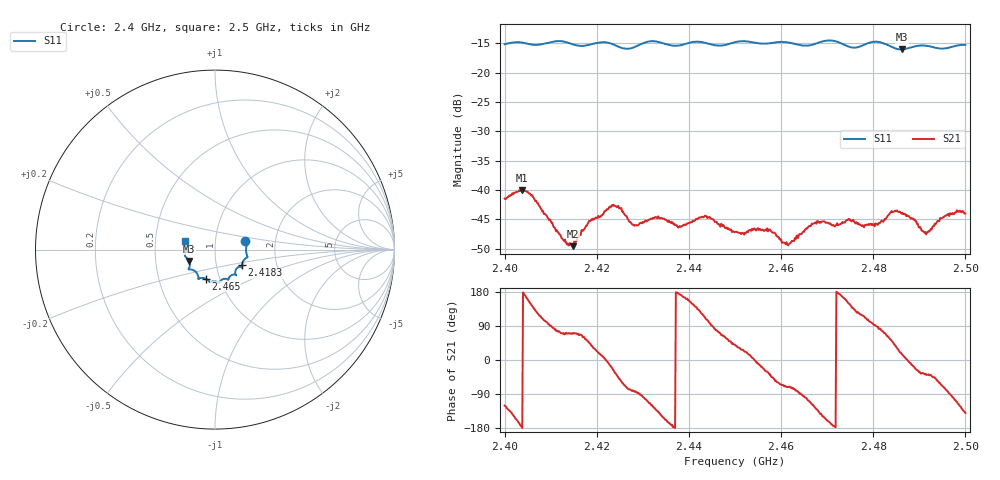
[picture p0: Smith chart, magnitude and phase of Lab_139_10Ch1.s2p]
# Hz S RI R 50
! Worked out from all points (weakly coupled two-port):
!   601 points, 2.4 GHz to 2.5 GHz, reference 50 ohm
!   highest |S21| = -40.06 dB at 2.4038 GHz (marker M1); lowest = -49.6 dB at 2.4148 GHz (marker M2)
!   lowest |S11| = -16.0 dB at 2.4862 GHz (marker M3), VSWR 1.38, Z = 37.1 - j4.85 ohm
!   |S11| at or under -10 dB: start of sweep to end of sweep
!   S12 and S22 are empty: the file has one direction only
!   S11 on the Smith chart (normalised r, x): 2.4 GHz: 1.40, +0.13; 2.4183 GHz: 1.33, -0.24; 2.465 GHz: 0.86, -0.29; 2.5 GHz: 0.71, +0.07
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2.4e9  0.1689 0.0454  -0.00427 -0.00729  0 0  0 0
2.403833e9  0.1787 0.028  -0.00993 -0.000111  0 0  0 0
2.413e9  0.1786 -0.0443  0.0014 0.00335  0 0  0 0
2.414833e9  0.1668 -0.0518  0.00114 0.00311  0 0  0 0
2.416667e9  0.1551 -0.0684  0.00182 0.00412  0 0  0 0
2.418333e9  0.1498 -0.0869  0.0038 0.0039  0 0  0 0
2.423667e9  0.1447 -0.0966  0.00663 -0.00345  0 0  0 0
2.428167e9  0.1135 -0.1205  0.000568 -0.00492  0 0  0 0
2.433333e9  0.1166 -0.1414  -0.00437 -0.00404  0 0  0 0
2.438e9  0.0823 -0.1501  -0.00488 0.000608  0 0  0 0
2.444e9  0.0681 -0.1642  -0.00149 0.00556  0 0  0 0
2.45e9  0.0251 -0.1807  0.00336 0.00281  0 0  0 0
2.457167e9  -0.0112 -0.1773  0.00374 -0.0024  0 0  0 0
2.4615e9  -0.0314 -0.1787  0.00111 -0.00317  0 0  0 0
2.465e9  -0.0527 -0.1621  -0.000459 -0.00439  0 0  0 0
2.466667e9  -0.0712 -0.1577  -0.00226 -0.00464  0 0  0 0
2.4805e9  -0.1477 -0.1099  -0.000114 0.00519  0 0  0 0
2.483333e9  -0.1418 -0.0958  0.00306 0.00534  0 0  0 0
2.486167e9  -0.1446 -0.0637  0.00603 0.00175  0 0  0 0
2.491333e9  -0.1674 -0.0314  0.00352 -0.00258  0 0  0 0
2.495833e9  -0.1614 0.0146  0.00116 -0.00593  0 0  0 0
2.5e9  -0.1664 0.0471  -0.0048 -0.00407  0 0  0 0
